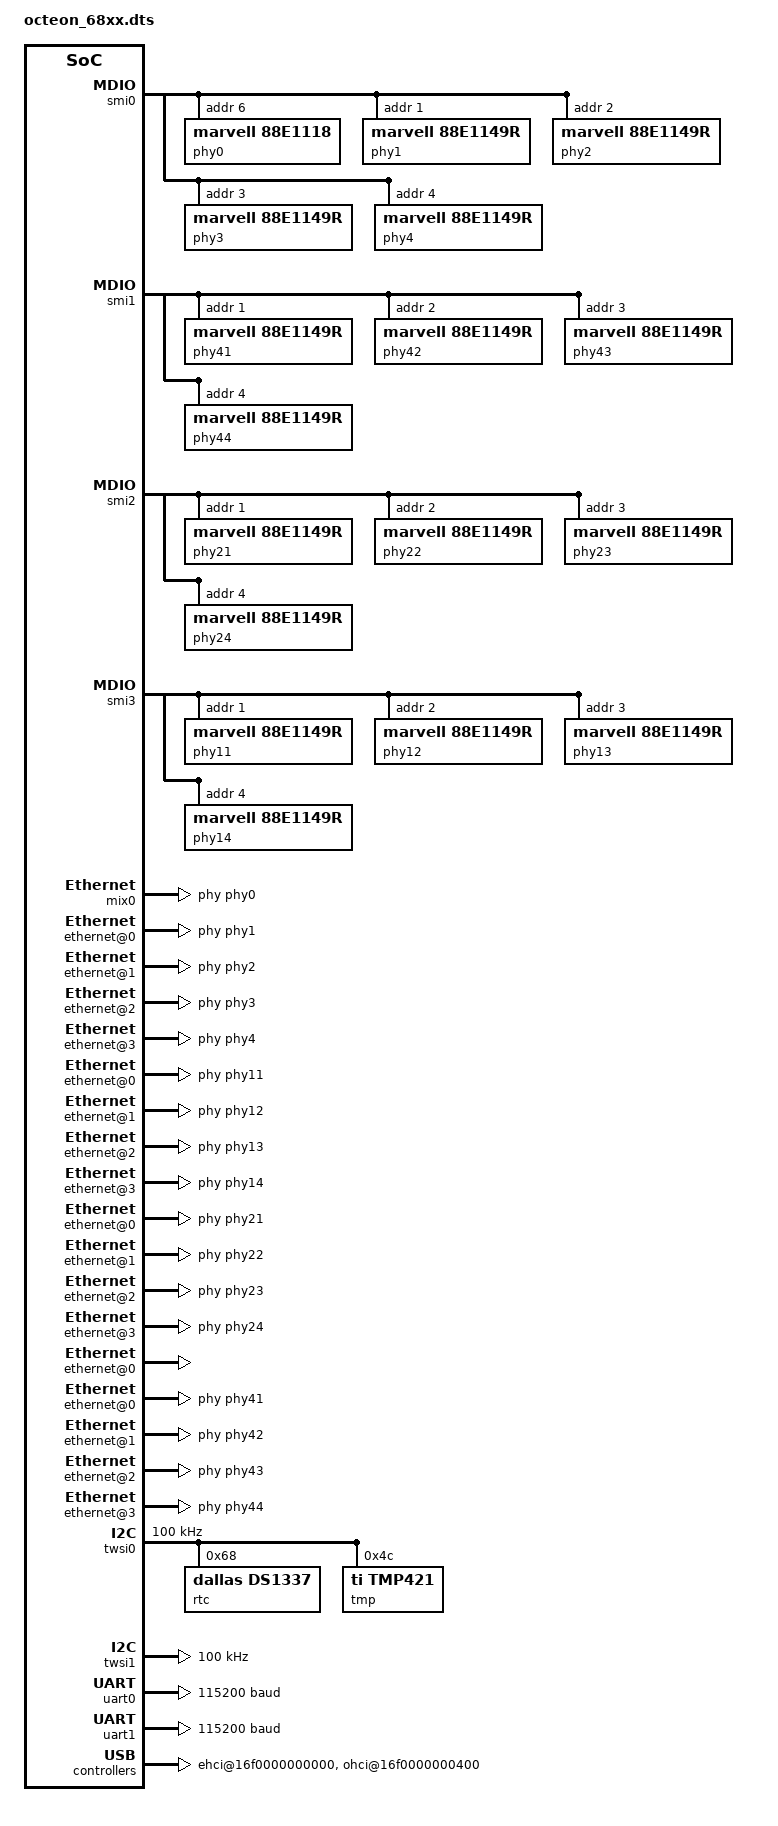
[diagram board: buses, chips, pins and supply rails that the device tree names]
// SPDX-License-Identifier: GPL-2.0
/dts-v1/;
/*
 * OCTEON 68XX device tree skeleton.
 *
 * This device tree is pruned and patched by early boot code before
 * use.	 Because of this, it contains a super-set of the available
 * devices and properties.
 */
/ {
	compatible = "cavium,octeon-6880";
	#address-cells = <2>;
	#size-cells = <2>;
	interrupt-parent = <&ciu2>;

	soc@0 {
		compatible = "simple-bus";
		#address-cells = <2>;
		#size-cells = <2>;
		ranges; /* Direct mapping */

		ciu2: interrupt-controller@1070100000000 {
			compatible = "cavium,octeon-6880-ciu2";
			interrupt-controller;
			/* Interrupts are specified by two parts:
			 * 1) Controller register (0 or 7)
			 * 2) Bit within the register (0..63)
			 */
			#address-cells = <0>;
			#interrupt-cells = <2>;
			reg = <0x10701 0x00000000 0x0 0x4000000>;
		};

		gpio: gpio-controller@1070000000800 {
			#gpio-cells = <2>;
			compatible = "cavium,octeon-3860-gpio";
			reg = <0x10700 0x00000800 0x0 0x100>;
			gpio-controller;
			/* Interrupts are specified by two parts:
			 * 1) GPIO pin number (0..15)
			 * 2) Triggering (1 - edge rising
			 *		  2 - edge falling
			 *		  4 - level active high
			 *		  8 - level active low)
			 */
			interrupt-controller;
			#interrupt-cells = <2>;
			/* The GPIO pins connect to 16 consecutive CUI bits */
			interrupts = <7 0>,  <7 1>,  <7 2>,  <7 3>,
				     <7 4>,  <7 5>,  <7 6>,  <7 7>,
				     <7 8>,  <7 9>,  <7 10>, <7 11>,
				     <7 12>, <7 13>, <7 14>, <7 15>;
		};

		smi0: mdio@1180000003800 {
			compatible = "cavium,octeon-3860-mdio";
			#address-cells = <1>;
			#size-cells = <0>;
			reg = <0x11800 0x00003800 0x0 0x40>;

			phy0: ethernet-phy@6 {
				compatible = "marvell,88e1118";
				marvell,reg-init =
					/* Fix rx and tx clock transition timing */
					<2 0x15 0xffcf 0>, /* Reg 2,21 Clear bits 4, 5 */
					/* Adjust LED drive. */
					<3 0x11 0 0x442a>, /* Reg 3,17 <- 0442a */
					/* irq, blink-activity, blink-link */
					<3 0x10 0 0x0242>; /* Reg 3,16 <- 0x0242 */
				reg = <6>;
			};

			phy1: ethernet-phy@1 {
				cavium,qlm-trim = "4,sgmii";
				reg = <1>;
				compatible = "marvell,88e1149r";
				marvell,reg-init = <3 0x10 0 0x5777>,
					<3 0x11 0 0x00aa>,
					<3 0x12 0 0x4105>,
					<3 0x13 0 0x0a60>;
			};
			phy2: ethernet-phy@2 {
				cavium,qlm-trim = "4,sgmii";
				reg = <2>;
				compatible = "marvell,88e1149r";
				marvell,reg-init = <3 0x10 0 0x5777>,
					<3 0x11 0 0x00aa>,
					<3 0x12 0 0x4105>,
					<3 0x13 0 0x0a60>;
			};
			phy3: ethernet-phy@3 {
				cavium,qlm-trim = "4,sgmii";
				reg = <3>;
				compatible = "marvell,88e1149r";
				marvell,reg-init = <3 0x10 0 0x5777>,
					<3 0x11 0 0x00aa>,
					<3 0x12 0 0x4105>,
					<3 0x13 0 0x0a60>;
			};
			phy4: ethernet-phy@4 {
				cavium,qlm-trim = "4,sgmii";
				reg = <4>;
				compatible = "marvell,88e1149r";
				marvell,reg-init = <3 0x10 0 0x5777>,
					<3 0x11 0 0x00aa>,
					<3 0x12 0 0x4105>,
					<3 0x13 0 0x0a60>;
			};
		};

		smi1: mdio@1180000003880 {
			compatible = "cavium,octeon-3860-mdio";
			#address-cells = <1>;
			#size-cells = <0>;
			reg = <0x11800 0x00003880 0x0 0x40>;

			phy41: ethernet-phy@1 {
				cavium,qlm-trim = "0,sgmii";
				reg = <1>;
				compatible = "marvell,88e1149r";
				marvell,reg-init = <3 0x10 0 0x5777>,
					<3 0x11 0 0x00aa>,
					<3 0x12 0 0x4105>,
					<3 0x13 0 0x0a60>;
			};
			phy42: ethernet-phy@2 {
				cavium,qlm-trim = "0,sgmii";
				reg = <2>;
				compatible = "marvell,88e1149r";
				marvell,reg-init = <3 0x10 0 0x5777>,
					<3 0x11 0 0x00aa>,
					<3 0x12 0 0x4105>,
					<3 0x13 0 0x0a60>;
			};
			phy43: ethernet-phy@3 {
				cavium,qlm-trim = "0,sgmii";
				reg = <3>;
				compatible = "marvell,88e1149r";
				marvell,reg-init = <3 0x10 0 0x5777>,
					<3 0x11 0 0x00aa>,
					<3 0x12 0 0x4105>,
					<3 0x13 0 0x0a60>;
			};
			phy44: ethernet-phy@4 {
				cavium,qlm-trim = "0,sgmii";
				reg = <4>;
				compatible = "marvell,88e1149r";
				marvell,reg-init = <3 0x10 0 0x5777>,
					<3 0x11 0 0x00aa>,
					<3 0x12 0 0x4105>,
					<3 0x13 0 0x0a60>;
			};
		};

		smi2: mdio@1180000003900 {
			compatible = "cavium,octeon-3860-mdio";
			#address-cells = <1>;
			#size-cells = <0>;
			reg = <0x11800 0x00003900 0x0 0x40>;

			phy21: ethernet-phy@1 {
				cavium,qlm-trim = "2,sgmii";
				reg = <1>;
				compatible = "marvell,88e1149r";
				marvell,reg-init = <3 0x10 0 0x5777>,
					<3 0x11 0 0x00aa>,
					<3 0x12 0 0x4105>,
					<3 0x13 0 0x0a60>;
			};
			phy22: ethernet-phy@2 {
				cavium,qlm-trim = "2,sgmii";
				reg = <2>;
				compatible = "marvell,88e1149r";
				marvell,reg-init = <3 0x10 0 0x5777>,
					<3 0x11 0 0x00aa>,
					<3 0x12 0 0x4105>,
					<3 0x13 0 0x0a60>;
			};
			phy23: ethernet-phy@3 {
				cavium,qlm-trim = "2,sgmii";
				reg = <3>;
				compatible = "marvell,88e1149r";
				marvell,reg-init = <3 0x10 0 0x5777>,
					<3 0x11 0 0x00aa>,
					<3 0x12 0 0x4105>,
					<3 0x13 0 0x0a60>;
			};
			phy24: ethernet-phy@4 {
				cavium,qlm-trim = "2,sgmii";
				reg = <4>;
				compatible = "marvell,88e1149r";
				marvell,reg-init = <3 0x10 0 0x5777>,
					<3 0x11 0 0x00aa>,
					<3 0x12 0 0x4105>,
					<3 0x13 0 0x0a60>;
			};
		};

		smi3: mdio@1180000003980 {
			compatible = "cavium,octeon-3860-mdio";
			#address-cells = <1>;
			#size-cells = <0>;
			reg = <0x11800 0x00003980 0x0 0x40>;

			phy11: ethernet-phy@1 {
				cavium,qlm-trim = "3,sgmii";
				reg = <1>;
				compatible = "marvell,88e1149r";
				marvell,reg-init = <3 0x10 0 0x5777>,
					<3 0x11 0 0x00aa>,
					<3 0x12 0 0x4105>,
					<3 0x13 0 0x0a60>;
			};
			phy12: ethernet-phy@2 {
				cavium,qlm-trim = "3,sgmii";
				reg = <2>;
				compatible = "marvell,88e1149r";
				marvell,reg-init = <3 0x10 0 0x5777>,
					<3 0x11 0 0x00aa>,
					<3 0x12 0 0x4105>,
					<3 0x13 0 0x0a60>;
			};
			phy13: ethernet-phy@3 {
				cavium,qlm-trim = "3,sgmii";
				reg = <3>;
				compatible = "marvell,88e1149r";
				marvell,reg-init = <3 0x10 0 0x5777>,
					<3 0x11 0 0x00aa>,
					<3 0x12 0 0x4105>,
					<3 0x13 0 0x0a60>;
			};
			phy14: ethernet-phy@4 {
				cavium,qlm-trim = "3,sgmii";
				reg = <4>;
				compatible = "marvell,88e1149r";
				marvell,reg-init = <3 0x10 0 0x5777>,
					<3 0x11 0 0x00aa>,
					<3 0x12 0 0x4105>,
					<3 0x13 0 0x0a60>;
			};
		};

		mix0: ethernet@1070000100000 {
			compatible = "cavium,octeon-5750-mix";
			reg = <0x10700 0x00100000 0x0 0x100>, /* MIX */
			      <0x11800 0xE0000000 0x0 0x300>, /* AGL */
			      <0x11800 0xE0000400 0x0 0x400>, /* AGL_SHARED  */
			      <0x11800 0xE0002000 0x0 0x8>;   /* AGL_PRT_CTL */
			cell-index = <0>;
			interrupts = <6 40>, <6 32>;
			local-mac-address = [ 00 00 00 00 00 00 ];
			phy-handle = <&phy0>;
		};

		pip: pip@11800a0000000 {
			compatible = "cavium,octeon-3860-pip";
			#address-cells = <1>;
			#size-cells = <0>;
			reg = <0x11800 0xa0000000 0x0 0x2000>;

			interface@4 {
				compatible = "cavium,octeon-3860-pip-interface";
				#address-cells = <1>;
				#size-cells = <0>;
				reg = <0x4>; /* interface */

				ethernet@0 {
					compatible = "cavium,octeon-3860-pip-port";
					reg = <0x0>; /* Port */
					local-mac-address = [ 00 00 00 00 00 00 ];
					phy-handle = <&phy1>;
				};
				ethernet@1 {
					compatible = "cavium,octeon-3860-pip-port";
					reg = <0x1>; /* Port */
					local-mac-address = [ 00 00 00 00 00 00 ];
					phy-handle = <&phy2>;
				};
				ethernet@2 {
					compatible = "cavium,octeon-3860-pip-port";
					reg = <0x2>; /* Port */
					local-mac-address = [ 00 00 00 00 00 00 ];
					phy-handle = <&phy3>;
				};
				ethernet@3 {
					compatible = "cavium,octeon-3860-pip-port";
					reg = <0x3>; /* Port */
					local-mac-address = [ 00 00 00 00 00 00 ];
					phy-handle = <&phy4>;
				};
			};

			interface@3 {
				compatible = "cavium,octeon-3860-pip-interface";
				#address-cells = <1>;
				#size-cells = <0>;
				reg = <0x3>; /* interface */

				ethernet@0 {
					compatible = "cavium,octeon-3860-pip-port";
					reg = <0x0>; /* Port */
					local-mac-address = [ 00 00 00 00 00 00 ];
					phy-handle = <&phy11>;
				};
				ethernet@1 {
					compatible = "cavium,octeon-3860-pip-port";
					reg = <0x1>; /* Port */
					local-mac-address = [ 00 00 00 00 00 00 ];
					phy-handle = <&phy12>;
				};
				ethernet@2 {
					compatible = "cavium,octeon-3860-pip-port";
					reg = <0x2>; /* Port */
					local-mac-address = [ 00 00 00 00 00 00 ];
					phy-handle = <&phy13>;
				};
				ethernet@3 {
					compatible = "cavium,octeon-3860-pip-port";
					reg = <0x3>; /* Port */
					local-mac-address = [ 00 00 00 00 00 00 ];
					phy-handle = <&phy14>;
				};
			};

			interface@2 {
				compatible = "cavium,octeon-3860-pip-interface";
				#address-cells = <1>;
				#size-cells = <0>;
				reg = <0x2>; /* interface */

				ethernet@0 {
					compatible = "cavium,octeon-3860-pip-port";
					reg = <0x0>; /* Port */
					local-mac-address = [ 00 00 00 00 00 00 ];
					phy-handle = <&phy21>;
				};
				ethernet@1 {
					compatible = "cavium,octeon-3860-pip-port";
					reg = <0x1>; /* Port */
					local-mac-address = [ 00 00 00 00 00 00 ];
					phy-handle = <&phy22>;
				};
				ethernet@2 {
					compatible = "cavium,octeon-3860-pip-port";
					reg = <0x2>; /* Port */
					local-mac-address = [ 00 00 00 00 00 00 ];
					phy-handle = <&phy23>;
				};
				ethernet@3 {
					compatible = "cavium,octeon-3860-pip-port";
					reg = <0x3>; /* Port */
					local-mac-address = [ 00 00 00 00 00 00 ];
					phy-handle = <&phy24>;
				};
			};

			interface@1 {
				compatible = "cavium,octeon-3860-pip-interface";
				#address-cells = <1>;
				#size-cells = <0>;
				reg = <0x1>; /* interface */

				ethernet@0 {
					compatible = "cavium,octeon-3860-pip-port";
					reg = <0x0>; /* Port */
					local-mac-address = [ 00 00 00 00 00 00 ];
				};
			};

			interface@0 {
				compatible = "cavium,octeon-3860-pip-interface";
				#address-cells = <1>;
				#size-cells = <0>;
				reg = <0x0>; /* interface */

				ethernet@0 {
					compatible = "cavium,octeon-3860-pip-port";
					reg = <0x0>; /* Port */
					local-mac-address = [ 00 00 00 00 00 00 ];
					phy-handle = <&phy41>;
				};
				ethernet@1 {
					compatible = "cavium,octeon-3860-pip-port";
					reg = <0x1>; /* Port */
					local-mac-address = [ 00 00 00 00 00 00 ];
					phy-handle = <&phy42>;
				};
				ethernet@2 {
					compatible = "cavium,octeon-3860-pip-port";
					reg = <0x2>; /* Port */
					local-mac-address = [ 00 00 00 00 00 00 ];
					phy-handle = <&phy43>;
				};
				ethernet@3 {
					compatible = "cavium,octeon-3860-pip-port";
					reg = <0x3>; /* Port */
					local-mac-address = [ 00 00 00 00 00 00 ];
					phy-handle = <&phy44>;
				};
			};
		};

		twsi0: i2c@1180000001000 {
			#address-cells = <1>;
			#size-cells = <0>;
			compatible = "cavium,octeon-3860-twsi";
			reg = <0x11800 0x00001000 0x0 0x200>;
			interrupts = <3 32>;
			clock-frequency = <100000>;

			rtc@68 {
				compatible = "dallas,ds1337";
				reg = <0x68>;
			};
			tmp@4c {
				compatible = "ti,tmp421";
				reg = <0x4c>;
			};
		};

		twsi1: i2c@1180000001200 {
			#address-cells = <1>;
			#size-cells = <0>;
			compatible = "cavium,octeon-3860-twsi";
			reg = <0x11800 0x00001200 0x0 0x200>;
			interrupts = <3 33>;
			clock-frequency = <100000>;
		};

		uart0: serial@1180000000800 {
			compatible = "cavium,octeon-3860-uart","ns16550";
			reg = <0x11800 0x00000800 0x0 0x400>;
			clock-frequency = <0>;
			current-speed = <115200>;
			reg-shift = <3>;
			interrupts = <3 36>;
		};

		uart1: serial@1180000000c00 {
			compatible = "cavium,octeon-3860-uart","ns16550";
			reg = <0x11800 0x00000c00 0x0 0x400>;
			clock-frequency = <0>;
			current-speed = <115200>;
			reg-shift = <3>;
			interrupts = <3 37>;
		};

		bootbus: bootbus@1180000000000 {
			compatible = "cavium,octeon-3860-bootbus";
			reg = <0x11800 0x00000000 0x0 0x200>;
			/* The chip select number and offset */
			#address-cells = <2>;
			/* The size of the chip select region */
			#size-cells = <1>;
			ranges = <0 0  0       0x1f400000  0xc00000>,
				 <1 0  0x10000 0x30000000  0>,
				 <2 0  0x10000 0x40000000  0>,
				 <3 0  0x10000 0x50000000  0>,
				 <4 0  0       0x1d020000  0x10000>,
				 <5 0  0       0x1d040000  0x10000>,
				 <6 0  0       0x1d050000  0x10000>,
				 <7 0  0x10000 0x90000000  0>;

			cavium,cs-config@0 {
				compatible = "cavium,octeon-3860-bootbus-config";
				cavium,cs-index = <0>;
				cavium,t-adr  = <10>;
				cavium,t-ce   = <50>;
				cavium,t-oe   = <50>;
				cavium,t-we   = <35>;
				cavium,t-rd-hld = <25>;
				cavium,t-wr-hld = <35>;
				cavium,t-pause	= <0>;
				cavium,t-wait	= <300>;
				cavium,t-page	= <25>;
				cavium,t-rd-dly = <0>;

				cavium,pages	 = <0>;
				cavium,bus-width = <8>;
			};
			cavium,cs-config@4 {
				compatible = "cavium,octeon-3860-bootbus-config";
				cavium,cs-index = <4>;
				cavium,t-adr  = <320>;
				cavium,t-ce   = <320>;
				cavium,t-oe   = <320>;
				cavium,t-we   = <320>;
				cavium,t-rd-hld = <320>;
				cavium,t-wr-hld = <320>;
				cavium,t-pause	= <320>;
				cavium,t-wait	= <320>;
				cavium,t-page	= <320>;
				cavium,t-rd-dly = <0>;

				cavium,pages	 = <0>;
				cavium,bus-width = <8>;
			};
			cavium,cs-config@5 {
				compatible = "cavium,octeon-3860-bootbus-config";
				cavium,cs-index = <5>;
				cavium,t-adr  = <0>;
				cavium,t-ce   = <300>;
				cavium,t-oe   = <125>;
				cavium,t-we   = <150>;
				cavium,t-rd-hld = <100>;
				cavium,t-wr-hld = <300>;
				cavium,t-pause	= <0>;
				cavium,t-wait	= <300>;
				cavium,t-page	= <310>;
				cavium,t-rd-dly = <0>;

				cavium,pages	 = <0>;
				cavium,bus-width = <16>;
			};
			cavium,cs-config@6 {
				compatible = "cavium,octeon-3860-bootbus-config";
				cavium,cs-index = <6>;
				cavium,t-adr  = <0>;
				cavium,t-ce   = <30>;
				cavium,t-oe   = <125>;
				cavium,t-we   = <150>;
				cavium,t-rd-hld = <100>;
				cavium,t-wr-hld = <30>;
				cavium,t-pause	= <0>;
				cavium,t-wait	= <30>;
				cavium,t-page	= <310>;
				cavium,t-rd-dly = <0>;

				cavium,pages	 = <0>;
				cavium,wait-mode;
				cavium,bus-width = <16>;
			};

			flash0: nor@0,0 {
				compatible = "cfi-flash";
				reg = <0 0 0x800000>;
				#address-cells = <1>;
				#size-cells = <1>;

				partition@0 {
					label = "bootloader";
					reg = <0 0x200000>;
					read-only;
				};
				partition@200000 {
					label = "kernel";
					reg = <0x200000 0x200000>;
				};
				partition@400000 {
					label = "cramfs";
					reg = <0x400000 0x3fe000>;
				};
				partition@7fe000 {
					label = "environment";
					reg = <0x7fe000 0x2000>;
					read-only;
				};
			};

			led0: led-display@4,0 {
				compatible = "avago,hdsp-253x";
				reg = <4 0x20 0x20>, <4 0 0x20>;
			};

			compact-flash@5,0 {
				compatible = "cavium,ebt3000-compact-flash";
				reg = <5 0 0x10000>, <6 0 0x10000>;
				cavium,bus-width = <16>;
				cavium,true-ide;
				cavium,dma-engine-handle = <&dma0>;
			};
		};

		dma0: dma-engine@1180000000100 {
			compatible = "cavium,octeon-5750-bootbus-dma";
			reg = <0x11800 0x00000100 0x0 0x8>;
			interrupts = <0 63>;
		};
		dma1: dma-engine@1180000000108 {
			compatible = "cavium,octeon-5750-bootbus-dma";
			reg = <0x11800 0x00000108 0x0 0x8>;
			interrupts = <0 63>;
		};

		uctl: uctl@118006f000000 {
			compatible = "cavium,octeon-6335-uctl";
			reg = <0x11800 0x6f000000 0x0 0x100>;
			ranges; /* Direct mapping */
			#address-cells = <2>;
			#size-cells = <2>;
			/* 12MHz, 24MHz and 48MHz allowed */
			refclk-frequency = <12000000>;
			/* Either "crystal" or "external" */
			refclk-type = "crystal";

			ehci@16f0000000000 {
				compatible = "cavium,octeon-6335-ehci","usb-ehci";
				reg = <0x16f00 0x00000000 0x0 0x100>;
				interrupts = <3 44>;
				big-endian-regs;
			};
			ohci@16f0000000400 {
				compatible = "cavium,octeon-6335-ohci","usb-ohci";
				reg = <0x16f00 0x00000400 0x0 0x100>;
				interrupts = <3 44>;
				big-endian-regs;
			};
		};
	};

	aliases {
		mix0 = &mix0;
		pip = &pip;
		smi0 = &smi0;
		smi1 = &smi1;
		smi2 = &smi2;
		smi3 = &smi3;
		twsi0 = &twsi0;
		twsi1 = &twsi1;
		uart0 = &uart0;
		uart1 = &uart1;
		uctl = &uctl;
		led0 = &led0;
		flash0 = &flash0;
	};
 };
